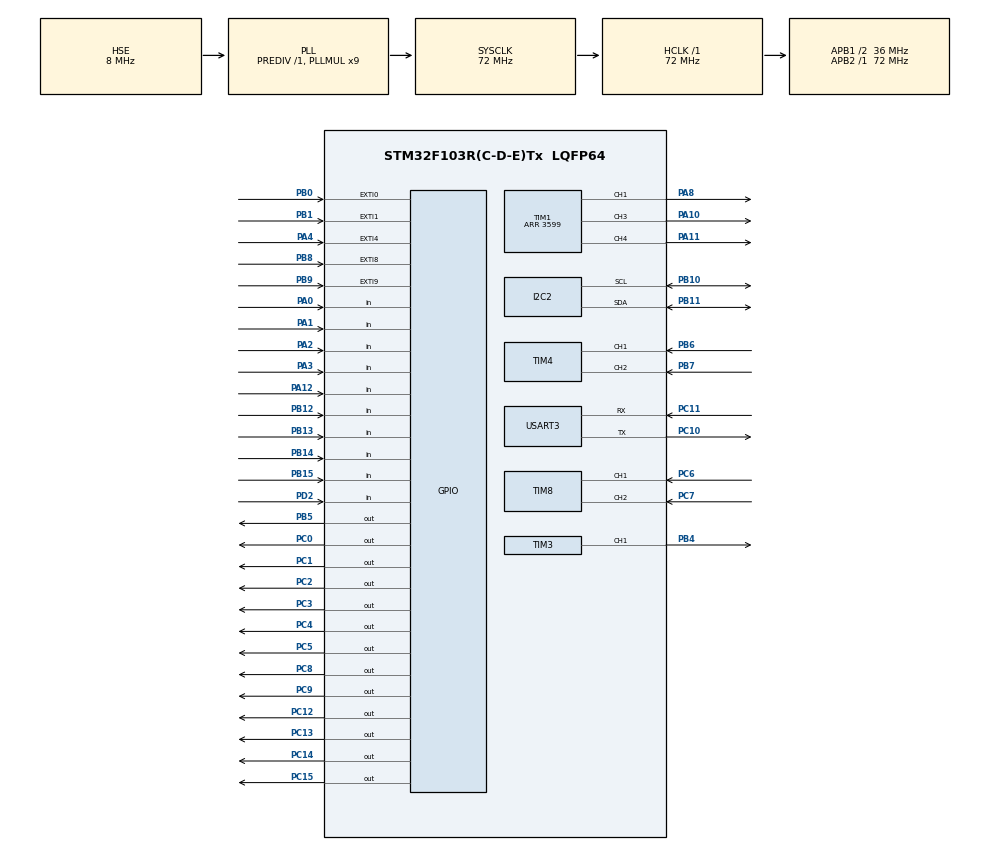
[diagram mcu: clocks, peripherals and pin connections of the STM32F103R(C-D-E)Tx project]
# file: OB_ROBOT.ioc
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Mcu.Family=STM32F1
Mcu.Name=STM32F103R(C-D-E)Tx
Mcu.Package=LQFP64
NVIC.EXTI0_IRQn=true\:0\:0\:false\:false\:true\:true\:true\:true
NVIC.EXTI1_IRQn=true\:0\:0\:false\:false\:true\:true\:true\:true
NVIC.EXTI4_IRQn=true\:0\:0\:false\:false\:true\:true\:true\:true
NVIC.EXTI9_5_IRQn=true\:0\:0\:false\:false\:true\:true\:true\:true
NVIC.PriorityGroup=NVIC_PRIORITYGROUP_4
NVIC.USART3_IRQn=true\:0\:0\:false\:false\:true\:true\:true\:true
PA0-WKUP.GPIO_PuPd=GPIO_PULLDOWN
PA0-WKUP.Signal=GPIO_Input
PA1.GPIO_PuPd=GPIO_PULLUP
PA1.Signal=GPIO_Input
PA10.Signal=S_TIM1_CH3
PA11.Signal=S_TIM1_CH4
PA12.GPIO_PuPd=GPIO_PULLUP
PA12.Signal=GPIO_Input
PA13.Mode=Serial_Wire
PA13.Signal=SYS_JTMS-SWDIO
PA14.Mode=Serial_Wire
PA14.Signal=SYS_JTCK-SWCLK
PA2.GPIO_PuPd=GPIO_PULLUP
PA2.Signal=GPIO_Input
PA3.GPIO_PuPd=GPIO_PULLUP
PA3.Signal=GPIO_Input
PA4.GPIO_ModeDefaultEXTI=GPIO_MODE_IT_RISING
PA4.GPIO_PuPd=GPIO_NOPULL
PA4.Signal=GPXTI4
PA8.Signal=S_TIM1_CH1
PB0.GPIO_ModeDefaultEXTI=GPIO_MODE_IT_RISING_FALLING
PB0.GPIO_PuPd=GPIO_PULLUP
PB0.Signal=GPXTI0
PB1.GPIO_ModeDefaultEXTI=GPIO_MODE_IT_RISING_FALLING
PB1.GPIO_PuPd=GPIO_PULLUP
PB1.Signal=GPXTI1
PB10.Mode=I2C
PB10.Signal=I2C2_SCL
PB11.Mode=I2C
PB11.Signal=I2C2_SDA
PB12.GPIO_PuPd=GPIO_PULLUP
PB12.Signal=GPIO_Input
PB13.GPIO_PuPd=GPIO_PULLUP
PB13.Signal=GPIO_Input
PB14.GPIO_PuPd=GPIO_PULLUP
PB14.Signal=GPIO_Input
PB15.GPIO_PuPd=GPIO_PULLUP
PB15.Signal=GPIO_Input
PB4.Signal=S_TIM3_CH1
PB5.GPIO_Speed=GPIO_SPEED_FREQ_HIGH
PB5.Signal=GPIO_Output
PB6.Signal=S_TIM4_CH1
PB7.Signal=S_TIM4_CH2
PB8.GPIO_ModeDefaultEXTI=GPIO_MODE_IT_RISING_FALLING
PB8.GPIO_PuPd=GPIO_PULLUP
PB8.Signal=GPXTI8
PB9.GPIO_ModeDefaultEXTI=GPIO_MODE_IT_RISING_FALLING
PB9.GPIO_PuPd=GPIO_PULLUP
PB9.Signal=GPXTI9
PC0.GPIO_Speed=GPIO_SPEED_FREQ_HIGH
PC0.Signal=GPIO_Output
PC1.GPIO_Speed=GPIO_SPEED_FREQ_HIGH
PC1.Signal=GPIO_Output
PC10.Mode=Asynchronous
PC10.Signal=USART3_TX
PC11.Mode=Asynchronous
PC11.Signal=USART3_RX
PC12.GPIO_ModeDefaultOutputPP=GPIO_MODE_OUTPUT_PP
PC12.GPIO_Speed=GPIO_SPEED_FREQ_HIGH
PC12.Signal=GPIO_Output
PC13-TAMPER-RTC.GPIO_PuPd=GPIO_PULLUP
PC13-TAMPER-RTC.Signal=GPIO_Output
PC14-OSC32_IN.GPIO_PuPd=GPIO_PULLUP
PC14-OSC32_IN.Signal=GPIO_Output
PC15-OSC32_OUT.GPIO_PuPd=GPIO_PULLUP
PC15-OSC32_OUT.Signal=GPIO_Output
PC2.GPIO_Speed=GPIO_SPEED_FREQ_HIGH
PC2.Signal=GPIO_Output
PC3.GPIO_Speed=GPIO_SPEED_FREQ_HIGH
PC3.Signal=GPIO_Output
PC4.GPIO_Speed=GPIO_SPEED_FREQ_HIGH
PC4.Signal=GPIO_Output
PC5.GPIO_Speed=GPIO_SPEED_FREQ_HIGH
PC5.Signal=GPIO_Output
PC6.Signal=S_TIM8_CH1
PC7.Signal=S_TIM8_CH2
PC8.GPIO_Speed=GPIO_SPEED_FREQ_HIGH
PC8.Signal=GPIO_Output
PC9.GPIO_Speed=GPIO_SPEED_FREQ_HIGH
PC9.Signal=GPIO_Output
PD0-OSC_IN.Mode=HSE-External-Oscillator
PD0-OSC_IN.Signal=RCC_OSC_IN
PD1-OSC_OUT.Mode=HSE-External-Oscillator
PD1-OSC_OUT.Signal=RCC_OSC_OUT
PD2.GPIO_PuPd=GPIO_PULLUP
PD2.Signal=GPIO_Input
ProjectManager.HeapSize=0x200
ProjectManager.StackSize=0x400
ProjectManager.TargetToolchain=MDK-ARM V5
RCC.AHBFreq_Value=72000000
RCC.APB1CLKDivider=RCC_HCLK_DIV2
RCC.APB1Freq_Value=36000000
RCC.APB1TimFreq_Value=72000000
RCC.APB2Freq_Value=72000000
RCC.APB2TimFreq_Value=72000000
RCC.HCLKFreq_Value=72000000
RCC.PLLMUL=RCC_PLL_MUL9
RCC.PLLSourceVirtual=RCC_PLLSOURCE_HSE
RCC.SYSCLKFreq_VALUE=72000000
RCC.SYSCLKSource=RCC_SYSCLKSOURCE_PLLCLK
RCC.USBFreq_Value=72000000
SH.S_TIM1_CH1.0=TIM1_CH1,PWM Generation1 CH1
SH.S_TIM1_CH3.0=TIM1_CH3,PWM Generation3 CH3
SH.S_TIM1_CH4.0=TIM1_CH4,PWM Generation4 CH4
SH.S_TIM3_CH1.0=TIM3_CH1,PWM Generation1 CH1
SH.S_TIM4_CH1.0=TIM4_CH1,Encoder_Interface
SH.S_TIM4_CH2.0=TIM4_CH2,Encoder_Interface
SH.S_TIM8_CH1.0=TIM8_CH1,Encoder_Interface
SH.S_TIM8_CH2.0=TIM8_CH2,Encoder_Interface
TIM1.Channel-PWM\ Generation1\ CH1=TIM_CHANNEL_1
TIM1.Channel-PWM\ Generation3\ CH3=TIM_CHANNEL_3
TIM1.Channel-PWM\ Generation4\ CH4=TIM_CHANNEL_4
TIM1.Period=3599
TIM2.Period=3599
TIM3.Channel-PWM\ Generation1\ CH1=TIM_CHANNEL_1
TIM3.Period=3599
TIM4.AutoReloadPreload=TIM_AUTORELOAD_PRELOAD_ENABLE
TIM4.EncoderMode=TIM_ENCODERMODE_TI12
TIM8.AutoReloadPreload=TIM_AUTORELOAD_PRELOAD_ENABLE
TIM8.EncoderMode=TIM_ENCODERMODE_TI12
USART3.VirtualMode=VM_ASYNC
VP_TIM1_VS_ClockSourceINT.Mode=Internal
VP_TIM2_VS_ClockSourceINT.Mode=Internal
VP_TIM3_VS_ClockSourceINT.Mode=Internal
board=custom

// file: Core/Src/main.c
/* USER CODE BEGIN Header */
/* USER CODE END Header */
#include "main.h"
#include "i2c.h"
#include "tim.h"
#include "usart.h"
#include "gpio.h"

/* USER CODE BEGIN Includes */
#include <stdio.h>
#include "motor.h"
#include "encoder.h"
#include "sensor.h"
#include "key.h"
#include "oled.h"
#include "imu601.h"
#include "move.h"
#include "wheel_speed.h"
/* USER CODE END Includes */

/* USER CODE BEGIN PD */
#define DEFAULT_SPEED 1200
#define WHEEL_SPEED_TEST_BUILD 1U
#define WHEEL_SPEED_TEST_PWM 500
#define WHEEL_SPEED_TEST_TIMEOUT_MS 5000U
#define ONE_METER_RUN_BUILD 0U
#define ONE_METER_SPEED 900
#define ONE_METER_TIMEOUT_MS 15000U
#define ONE_METER_TARGET_LF 7851L
#define ONE_METER_TARGET_RF 7905L
#define ONE_METER_TARGET_LR 7825L
#define ONE_METER_TARGET_RR 7562L
#define OLED_TEXT_SIZE 12U
/* USER CODE END PD */

/* USER CODE BEGIN PV */
uint32_t tick_task_10ms = 0;
uint32_t tick_task_100ms = 0;
uint8_t robot_state = 0;
uint8_t work_mode = 0;

/* 一米运行状态和最终计数，保留为全局变量便于调试器回读。 */
volatile uint8_t g_one_meter_state = 0;
volatile int32_t g_one_meter_counts[ENCODER_NUM] = {0, 0, 0, 0};

/* 轮速采样测试：顺序固定为 LF、RF、LR、RR。 */
volatile uint8_t g_encoder_dir_test_state = 0;
volatile int32_t g_encoder_dir_counts[ENCODER_NUM] = {0, 0, 0, 0};
/* USER CODE END PV */

void SystemClock_Config(void);

/* USER CODE BEGIN 0 */
#if ONE_METER_RUN_BUILD
static int32_t OneMeter_Abs32(int32_t value)
{
  return (value < 0) ? -value : value;
}
#endif

static uint8_t CenterButton_Pressed(void)
{
  if (HAL_GPIO_ReadPin(GPIOA, GPIO_PIN_1) != GPIO_PIN_RESET) {
    return 0U;
  }

  HAL_Delay(25);
  return (HAL_GPIO_ReadPin(GPIOA, GPIO_PIN_1) == GPIO_PIN_RESET) ? 1U : 0U;
}

static void CenterButton_WaitRelease(void)
{
  while (HAL_GPIO_ReadPin(GPIOA, GPIO_PIN_1) == GPIO_PIN_RESET) {
    HAL_Delay(10);
  }
  HAL_Delay(25);
}

#if WHEEL_SPEED_TEST_BUILD
static void EncoderDirTest_ReadCounts(void)
{
  g_encoder_dir_counts[ENCODER_LF] = Encoder_GetPhysicalCount(ENCODER_LF);
  g_encoder_dir_counts[ENCODER_RF] = Encoder_GetPhysicalCount(ENCODER_RF);
  g_encoder_dir_counts[ENCODER_LR] = Encoder_GetPhysicalCount(ENCODER_LR);
  g_encoder_dir_counts[ENCODER_RR] = Encoder_GetPhysicalCount(ENCODER_RR);
}

static void WheelSpeed_Format(char *text, int32_t speed_x10)
{
  uint32_t magnitude;
  char sign;

  if (speed_x10 < 0) {
    sign = '-';
    magnitude = (uint32_t)(-speed_x10);
  } else {
    sign = '+';
    magnitude = (uint32_t)speed_x10;
  }
  sprintf(text, "%c%lu.%lu", sign,
          (unsigned long)(magnitude / 10U),
          (unsigned long)(magnitude % 10U));
}

static void EncoderDirTest_Show(void)
{
  char line[24];
  char lf[10];
  char rf[10];
  char lr[10];
  char rr[10];

  WheelSpeed_Format(lf, g_wheel_speed_x10[ENCODER_LF]);
  WheelSpeed_Format(rf, g_wheel_speed_x10[ENCODER_RF]);
  WheelSpeed_Format(lr, g_wheel_speed_x10[ENCODER_LR]);
  WheelSpeed_Format(rr, g_wheel_speed_x10[ENCODER_RR]);

  OLED_Clear();
  if (g_encoder_dir_test_state == 1U) {
    OLED_ShowString(0, 0, "SPEED cm/s RUN", OLED_TEXT_SIZE);
  } else if (g_encoder_dir_test_state == 2U) {
    OLED_ShowString(0, 0, "SPEED TEST STOP", OLED_TEXT_SIZE);
  } else {
    OLED_ShowString(0, 0, "SPEED TEST PWM500", OLED_TEXT_SIZE);
  }

  sprintf(line, "LF:%s RF:%s", lf, rf);
  OLED_ShowString(0, 16, line, OLED_TEXT_SIZE);

  sprintf(line, "LR:%s RR:%s", lr, rr);
  OLED_ShowString(0, 32, line, OLED_TEXT_SIZE);

  if (g_encoder_dir_test_state == 1U) {
    OLED_ShowString(0, 48, "CENTER=STOP", OLED_TEXT_SIZE);
  } else {
    OLED_ShowString(0, 48, "CENTER=START", OLED_TEXT_SIZE);
  }
  OLED_Refresh();
}

static void EncoderDirTest_RunOnce(void)
{
  uint32_t start_tick;
  uint32_t last_refresh;

  Encoder_ClearAll();
  WheelSpeed_Reset();
  EncoderDirTest_ReadCounts();
  g_encoder_dir_test_state = 1U;
  Move_Forward(WHEEL_SPEED_TEST_PWM);
  start_tick = HAL_GetTick();
  last_refresh = start_tick;
  EncoderDirTest_Show();

  while (1) {
    EncoderDirTest_ReadCounts();

    if (HAL_GPIO_ReadPin(GPIOA, GPIO_PIN_1) == GPIO_PIN_RESET) {
      Move_Stop();
      EncoderDirTest_ReadCounts();
      g_encoder_dir_test_state = 2U;
      EncoderDirTest_Show();
      CenterButton_WaitRelease();
      return;
    }

    if ((HAL_GetTick() - start_tick) >= WHEEL_SPEED_TEST_TIMEOUT_MS) {
      Move_Stop();
      EncoderDirTest_ReadCounts();
      g_encoder_dir_test_state = 2U;
      EncoderDirTest_Show();
      return;
    }

    if ((HAL_GetTick() - last_refresh) >= 100U) {
      last_refresh = HAL_GetTick();
      EncoderDirTest_Show();
    }
    HAL_Delay(2);
  }
}

static void EncoderDirTest_ModeRun(void)
{
  Move_Stop();
  Encoder_ClearAll();
  EncoderDirTest_ReadCounts();
  g_encoder_dir_test_state = 0U;
  EncoderDirTest_Show();
  CenterButton_WaitRelease();

  while (1) {
    while (!CenterButton_Pressed()) {
      HAL_Delay(10);
    }
    CenterButton_WaitRelease();
    EncoderDirTest_RunOnce();
  }
}
#endif

#if ONE_METER_RUN_BUILD
static void OneMeter_ReadCounts(void)
{
  g_one_meter_counts[ENCODER_LF] = OneMeter_Abs32(Encoder_GetCount(ENCODER_LF));
  g_one_meter_counts[ENCODER_RF] = OneMeter_Abs32(Encoder_GetCount(ENCODER_RF));
  g_one_meter_counts[ENCODER_LR] = OneMeter_Abs32(Encoder_GetCount(ENCODER_LR));
  g_one_meter_counts[ENCODER_RR] = OneMeter_Abs32(Encoder_GetCount(ENCODER_RR));
}

static void OneMeter_ShowReady(void)
{
  OLED_Clear();
  OLED_ShowString(0, 0, "ONE METER RUN", OLED_TEXT_SIZE);
  OLED_ShowString(0, 16, "DISTANCE: 100CM", OLED_TEXT_SIZE);
  OLED_ShowString(0, 32, "PRESS CENTER", OLED_TEXT_SIZE);
  OLED_ShowString(0, 48, "CENTER=E-STOP", OLED_TEXT_SIZE);
  OLED_Refresh();
}

static void OneMeter_ShowRunning(void)
{
  char line[24];

  OLED_Clear();
  OLED_ShowString(0, 0, "RUNNING 100CM", OLED_TEXT_SIZE);
  sprintf(line, "LF:%ld RF:%ld",
          (long)g_one_meter_counts[ENCODER_LF],
          (long)g_one_meter_counts[ENCODER_RF]);
  OLED_ShowString(0, 16, line, OLED_TEXT_SIZE);
  sprintf(line, "LR:%ld RR:%ld",
          (long)g_one_meter_counts[ENCODER_LR],
          (long)g_one_meter_counts[ENCODER_RR]);
  OLED_ShowString(0, 32, line, OLED_TEXT_SIZE);
  OLED_ShowString(0, 48, "CENTER=E-STOP", OLED_TEXT_SIZE);
  OLED_Refresh();
}

static void OneMeter_ShowResult(uint8_t result)
{
  char line[24];

  OLED_Clear();
  if (result == 2U) {
    OLED_ShowString(0, 0, "1M COMPLETE", OLED_TEXT_SIZE);
  } else if (result == 3U) {
    OLED_ShowString(0, 0, "EMERGENCY STOP", OLED_TEXT_SIZE);
  } else {
    OLED_ShowString(0, 0, "TIMEOUT/ENC ERROR", OLED_TEXT_SIZE);
  }
  sprintf(line, "LF:%ld RF:%ld",
          (long)g_one_meter_counts[ENCODER_LF],
          (long)g_one_meter_counts[ENCODER_RF]);
  OLED_ShowString(0, 16, line, OLED_TEXT_SIZE);
  sprintf(line, "LR:%ld RR:%ld",
          (long)g_one_meter_counts[ENCODER_LR],
          (long)g_one_meter_counts[ENCODER_RR]);
  OLED_ShowString(0, 32, line, OLED_TEXT_SIZE);
  OLED_ShowString(0, 48, "CENTER=RUN AGAIN", OLED_TEXT_SIZE);
  OLED_Refresh();
}

static uint8_t OneMeter_RunOnce(void)
{
  uint32_t start_tick;
  uint32_t last_refresh;
  uint8_t lf_done = 0U;
  uint8_t rf_done = 0U;
  uint8_t lr_done = 0U;
  uint8_t rr_done = 0U;

  Encoder_ClearAll();
  OneMeter_ReadCounts();
  g_one_meter_state = 1U;
  Move_Forward(ONE_METER_SPEED);
  start_tick = HAL_GetTick();
  last_refresh = start_tick;

  while (1) {
    OneMeter_ReadCounts();

    if (!lf_done && g_one_meter_counts[ENCODER_LF] >= ONE_METER_TARGET_LF) {
      Motor_Stop(MOTOR_LF);
      lf_done = 1U;
    }
    if (!rf_done && g_one_meter_counts[ENCODER_RF] >= ONE_METER_TARGET_RF) {
      Motor_Stop(MOTOR_RF);
      rf_done = 1U;
    }
    if (!lr_done && g_one_meter_counts[ENCODER_LR] >= ONE_METER_TARGET_LR) {
      Motor_Stop(MOTOR_LR);
      lr_done = 1U;
    }
    if (!rr_done && g_one_meter_counts[ENCODER_RR] >= ONE_METER_TARGET_RR) {
      Motor_Stop(MOTOR_RR);
      rr_done = 1U;
    }

    if (lf_done && rf_done && lr_done && rr_done) {
      Move_Stop();
      OneMeter_ReadCounts();
      g_one_meter_state = 2U;
      return 2U;
    }

    if (HAL_GPIO_ReadPin(GPIOA, GPIO_PIN_1) == GPIO_PIN_RESET) {
      Move_Stop();
      OneMeter_ReadCounts();
      g_one_meter_state = 3U;
      return 3U;
    }

    if ((HAL_GetTick() - start_tick) >= ONE_METER_TIMEOUT_MS) {
      Move_Stop();
      OneMeter_ReadCounts();
      g_one_meter_state = 4U;
      return 4U;
    }

    if ((HAL_GetTick() - last_refresh) >= 100U) {
      last_refresh = HAL_GetTick();
      OneMeter_ShowRunning();
    }
    HAL_Delay(2);
  }
}

static void OneMeter_ModeRun(void)
{
  uint8_t result;

  Move_Stop();
  g_one_meter_state = 0U;
  OneMeter_ShowReady();
  CenterButton_WaitRelease();

  while (1) {
    while (!CenterButton_Pressed()) {
      HAL_Delay(10);
    }
    CenterButton_WaitRelease();

    result = OneMeter_RunOnce();
    OneMeter_ShowResult(result);
    CenterButton_WaitRelease();
  }
}
#endif
/* USER CODE END 0 */

int main(void)
{

  /* MCU Configuration--------------------------------------------------------*/

  /* Reset of all peripherals, Initializes the Flash interface and the Systick. */
  HAL_Init();

  /* Configure the system clock */
  SystemClock_Config();

  /* Initialize all configured peripherals */
  MX_GPIO_Init();
  MX_TIM1_Init();
  MX_TIM3_Init();
  MX_TIM4_Init();
  MX_TIM8_Init();
  MX_USART3_UART_Init();
  MX_TIM2_Init();
  MX_I2C2_Init();
  /* USER CODE BEGIN 2 */
  Motor_Init();
  Encoder_Init();
  WheelSpeed_Init();
  Sensor_Init();
  Key_Init();
  OLED_Init();
  IMU601_Init();

  if (HAL_TIM_Base_Start_IT(&htim2) != HAL_OK) {
    Error_Handler();
  }

#if WHEEL_SPEED_TEST_BUILD
  EncoderDirTest_ModeRun();
#elif ONE_METER_RUN_BUILD
  OneMeter_ModeRun();
#endif

  IMU_SoftReset_Send();
  /* USER CODE END 2 */

  /* Infinite loop */
  /* USER CODE BEGIN WHILE */
  while (1)
  {
    uint32_t current_tick = HAL_GetTick(); // 获取当前系统滴答，非阻塞

    // =========================================================
    // 10ms 周期任务：传感器读取、按键扫描、电机动作
    // =========================================================
    if (current_tick - tick_task_10ms >= 10)
    {
        tick_task_10ms = current_tick;

        // --- 直接读引脚状态（最暴力的测试） ---
        // 根据最新的引脚表：
        // UP    = PB13
        // LEFT  = PB14
        // DOWN  = PB15
        // RIGHT = PD2
        // CENTER= PA1

        if (HAL_GPIO_ReadPin(GPIOB, GPIO_PIN_13) == GPIO_PIN_RESET) {
            // UP键按下：前进
            Move_Forward(DEFAULT_SPEED);
        }
        else if (HAL_GPIO_ReadPin(GPIOB, GPIO_PIN_15) == GPIO_PIN_RESET) {
            // DOWN键按下：后退
            Move_Backward(DEFAULT_SPEED);
        }
        else if (HAL_GPIO_ReadPin(GPIOB, GPIO_PIN_14) == GPIO_PIN_RESET) {
            // LEFT键按下：左平移
            Move_Left(DEFAULT_SPEED);
        }
        else if (HAL_GPIO_ReadPin(GPIOD, GPIO_PIN_2) == GPIO_PIN_RESET) {
            // RIGHT键按下：右平移
            Move_Right(DEFAULT_SPEED);
        }
        else if (HAL_GPIO_ReadPin(GPIOA, GPIO_PIN_1) == GPIO_PIN_RESET) {
            // CENTER键按下：原地左转
            Move_RotateLeft(DEFAULT_SPEED);
        }
        else {
            // 没有按键按下：停止
            Move_Stop();
        }
        // ------------------------------------------

        // 2. 解析 IMU 串口数据
        IMU601_Process();

        // 3. 传感器读取 (注意最后一个枚举改为了 SENSOR_LS)
        uint8_t obs_lf = Sensor_GetState(SENSOR_LF);
        uint8_t obs_rf = Sensor_GetState(SENSOR_RF);
        uint8_t track  = Sensor_GetState(SENSOR_LS); // 对应 PA12 左斜下

        (void)obs_lf; (void)obs_rf; (void)track; // 防止编译报 unused 警告

        // 4. 编码器读取
        int32_t enc_lr = Encoder_GetCount(ENCODER_LR);
        int32_t enc_lf = Encoder_GetCount(ENCODER_LF);
        int32_t enc_rr = Encoder_GetCount(ENCODER_RR);
        int32_t enc_rf = Encoder_GetCount(ENCODER_RF);

        (void)enc_lr; (void)enc_lf; (void)enc_rr; (void)enc_rf;
    }

    // =========================================================
    // 100ms 周期任务：OLED 刷新、状态机变量打印
    // =========================================================
    if (current_tick - tick_task_100ms >= 100)
    {
        tick_task_100ms = current_tick;

        char display_buf[20];

        // 清屏并显示当前状态机编号
        OLED_Clear();

        OLED_ShowString(0, 0, "State:", OLED_TEXT_SIZE);
        sprintf(display_buf, "%d", robot_state);
        OLED_ShowString(42, 0, display_buf, OLED_TEXT_SIZE);

        OLED_ShowString(0, 16, "Mode:", OLED_TEXT_SIZE);
        sprintf(display_buf, "%d", work_mode);
        OLED_ShowString(42, 16, display_buf, OLED_TEXT_SIZE);
        OLED_Refresh();
    }
    /* USER CODE END WHILE */

  }
}

void SystemClock_Config(void)
{
  RCC_OscInitTypeDef RCC_OscInitStruct = {0};
  RCC_ClkInitTypeDef RCC_ClkInitStruct = {0};

  /** Initializes the RCC Oscillators according to the specified parameters
  * in the RCC_OscInitTypeDef structure.
  */
  RCC_OscInitStruct.OscillatorType = RCC_OSCILLATORTYPE_HSE;
  RCC_OscInitStruct.HSEState = RCC_HSE_ON;
  RCC_OscInitStruct.HSEPredivValue = RCC_HSE_PREDIV_DIV1;
  RCC_OscInitStruct.HSIState = RCC_HSI_ON;
  RCC_OscInitStruct.PLL.PLLState = RCC_PLL_ON;
  RCC_OscInitStruct.PLL.PLLSource = RCC_PLLSOURCE_HSE;
  RCC_OscInitStruct.PLL.PLLMUL = RCC_PLL_MUL9;
  if (HAL_RCC_OscConfig(&RCC_OscInitStruct) != HAL_OK)
  {
    Error_Handler();
  }

  /** Initializes the CPU, AHB and APB buses clocks
  */
  RCC_ClkInitStruct.ClockType = RCC_CLOCKTYPE_HCLK|RCC_CLOCKTYPE_SYSCLK
                              |RCC_CLOCKTYPE_PCLK1|RCC_CLOCKTYPE_PCLK2;
  RCC_ClkInitStruct.SYSCLKSource = RCC_SYSCLKSOURCE_PLLCLK;
  RCC_ClkInitStruct.AHBCLKDivider = RCC_SYSCLK_DIV1;
  RCC_ClkInitStruct.APB1CLKDivider = RCC_HCLK_DIV2;
  RCC_ClkInitStruct.APB2CLKDivider = RCC_HCLK_DIV1;

  if (HAL_RCC_ClockConfig(&RCC_ClkInitStruct, FLASH_LATENCY_2) != HAL_OK)
  {
    Error_Handler();
  }
}

/* USER CODE BEGIN 4 */
void HAL_TIM_PeriodElapsedCallback(TIM_HandleTypeDef *htim)
{
  if (htim->Instance == TIM2) {
    WheelSpeed_Update10ms();
  }
}
/* USER CODE END 4 */

void Error_Handler(void)
{
}
